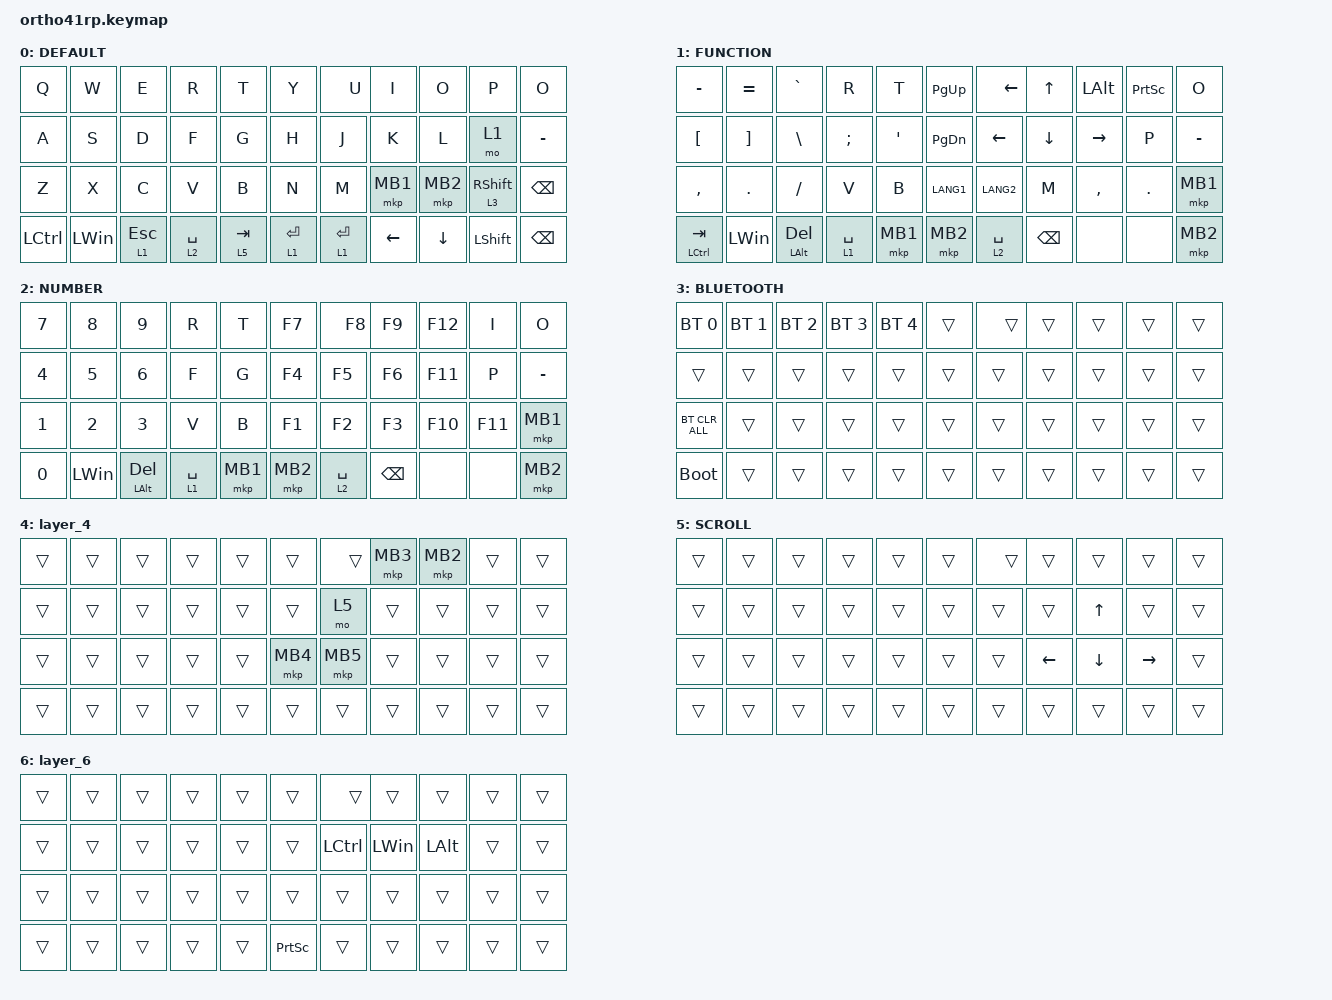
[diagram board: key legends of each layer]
#include <dt-bindings/zmk/mouse.h>
#include <behaviors.dtsi>
#include <dt-bindings/zmk/bt.h>
#include <dt-bindings/zmk/keys.h>
#include <dt-bindings/zmk/outputs.h>
#include <dt-bindings/zmk/pointing.h>

#define SCROLL 5
#define NUM 6

&mt {
    flavor = "balanced";
    quick-tap-ms = <0>;
};

/ {
    combos {
        compatible = "zmk,combos";

        tab {
            bindings = <&kp TAB>;
            key-positions = <11 12>;
        };

        shift_tab {
            bindings = <&kp LS(TAB)>;
            key-positions = <12 13>;
        };

        muhennkann {
            bindings = <&to_layer_0 INT_MUHENKAN>;
            key-positions = <11 10>;
        };

        double_quotation {
            bindings = <&kp DOUBLE_QUOTES>;
            key-positions = <20 21>;
        };

        eq {
            bindings = <&kp EQUAL>;
            key-positions = <24 25>;
        };
    };

    macros {
        to_layer_0: to_layer_0 {
            compatible = "zmk,behavior-macro-one-param";
            #binding-cells = <1>;
            bindings = <&to 0 &macro_param_1to1 &kp MACRO_PLACEHOLDER>;
            label = "TO_LAYER_0";
        };
    };

    behaviors {
        lt_to_layer_0: lt_to_layer_0 {
            compatible = "zmk,behavior-hold-tap";
            label = "LAYER_TAP_TO_0";
            bindings = <&mo>, <&to_layer_0>;

            #binding-cells = <2>;
            tapping-term-ms = <200>;
        };

        z_shift: z_shift {
            compatible = "zmk,behavior-tap-dance";
            label = "Z_SHIFT";
            #binding-cells = <0>;
            bindings = <&mt LEFT_SHIFT Z>, <&kp LS(Z)>;

            tapping-term-ms = <120>;
        };
    };

    keymap {
        compatible = "zmk,keymap";

        DEFAULT {
            bindings = <
                &kp Q          &kp W         &kp E                &kp R        &kp T                &kp Y           &kp U         &kp I                 &kp O               &kp P                           &kp O
                &kp A          &kp S         &kp D                &kp F        &kp G                &kp H           &kp J         &kp K                 &kp L               &mo 1                           &kp MINUS
                &kp Z          &kp X         &kp C                &kp V        &kp B                &kp N           &kp M         &mkp MB1              &mkp MB2            &lt 3 RIGHT_SHIFT               &kp BACKSPACE
                &kp LCTRL      &kp LEFT_WIN  &lt 1 ESC            &lt 2 SPACE  &lt 5 TAB            &lt 1 ENTER     &lt 1 ENTER   &kp LEFT_ARROW        &kp DOWN_ARROW      &kp LEFT_SHIFT                  &kp BACKSPACE
            >;
        };

        FUNCTION {
            bindings = <
                &kp MINUS      &kp EQUAL     &kp GRAVE            &kp R        &kp T        &kp PG_UP     &kp LEFT_ARROW  &kp UP_ARROW          &kp LEFT_ALT      &kp PSCRN    &kp O
                &kp LBKT       &kp RBKT      &kp BACKSLASH        &kp SEMI     &kp SQT      &kp PG_DN     &kp LEFT_ARROW        &kp DOWN_ARROW      &kp RIGHT_ARROW      &kp P        &kp MINUS
                &kp COMMA      &kp DOT       &kp SLASH            &kp V        &kp B        &kp LANG1     &kp LANG2     &kp M          &kp COMMA  &kp DOT      &mkp MB1
                &mt LCTRL TAB  &kp LEFT_WIN  &mt LEFT_ALT DELETE  &lt 1 SPACE  &mkp MB1     &mkp MB2      &lt 2 SPACE   &kp BACKSPACE  &none      &none        &mkp MB2
            >;
        };

        NUMBER {
            bindings = <
                &kp NUMBER_7   &kp NUMBER_8  &kp NUMBER_9         &kp R        &kp T        &kp F7     &kp F8       &kp F9         &kp F12      &kp I    &kp O
                &kp NUMBER_4   &kp NUMBER_5  &kp NUMBER_6         &kp F        &kp G        &kp F4     &kp F5       &kp F6         &kp F11      &kp P    &kp MINUS
                &kp NUMBER_1   &kp NUMBER_2  &kp NUMBER_3         &kp V        &kp B        &kp F1     &kp F2       &kp F3         &kp F10      &kp F11  &mkp MB1
                &kp NUMBER_0   &kp LEFT_WIN  &mt LEFT_ALT DELETE  &lt 1 SPACE  &mkp MB1     &mkp MB2  &lt 2 SPACE   &kp BACKSPACE  &none      &none    &mkp MB2
            >;
        };

        BLUETOOTH {
            bindings = <
                &bt BT_SEL 0  &bt BT_SEL 1  &bt BT_SEL 2  &bt BT_SEL 3  &bt BT_SEL 4  &trans        &trans        &trans        &trans        &trans        &trans
                &trans        &trans        &trans        &trans        &trans        &trans        &trans        &trans        &trans        &trans        &trans
                &bt BT_CLR_ALL        &trans        &trans        &trans        &trans        &trans        &trans        &trans        &trans        &trans        &trans
                &bootloader   &trans        &trans        &trans        &trans        &trans        &trans        &trans        &trans        &trans        &trans
            >;
        };

        layer_4 {
            bindings = <
                &trans  &trans  &trans  &trans  &trans  &trans    &trans    &mkp MB3  &mkp MB2  &trans  &trans
                &trans  &trans  &trans  &trans  &trans  &trans    &mo 5     &trans    &trans    &trans  &trans
                &trans  &trans  &trans  &trans  &trans  &mkp MB4  &mkp MB5  &trans    &trans    &trans  &trans
                &trans  &trans  &trans  &trans  &trans  &trans    &trans    &trans    &trans    &trans  &trans
            >;
        };

        SCROLL {
            bindings = <
                &trans  &trans  &trans  &trans  &trans  &trans  &trans  &trans  &trans  &trans  &trans
                &trans  &trans  &trans  &trans  &trans  &trans  &trans  &trans  &kp UP_ARROW  &trans  &trans
                &trans  &trans  &trans  &trans  &trans  &trans  &trans  &kp LEFT_ARROW        &kp DOWN_ARROW      &kp RIGHT_ARROW  &trans
                &trans  &trans  &trans  &trans  &trans  &trans  &trans  &trans  &trans  &trans  &trans
            >;
        };

        layer_6 {
            bindings = <
                &trans  &trans  &trans  &trans  &trans  &trans      &trans        &trans        &trans        &trans  &trans
                &trans  &trans  &trans  &trans  &trans  &trans      &kp LCTRL     &kp LEFT_WIN  &kp LEFT_ALT  &trans  &trans
                &trans  &trans  &trans  &trans  &trans  &trans      &trans        &trans        &trans        &trans  &trans
                &trans  &trans  &trans  &trans  &trans  &kp PSCRN   &trans        &trans        &trans        &trans  &trans
            >;
        };
    };
};
